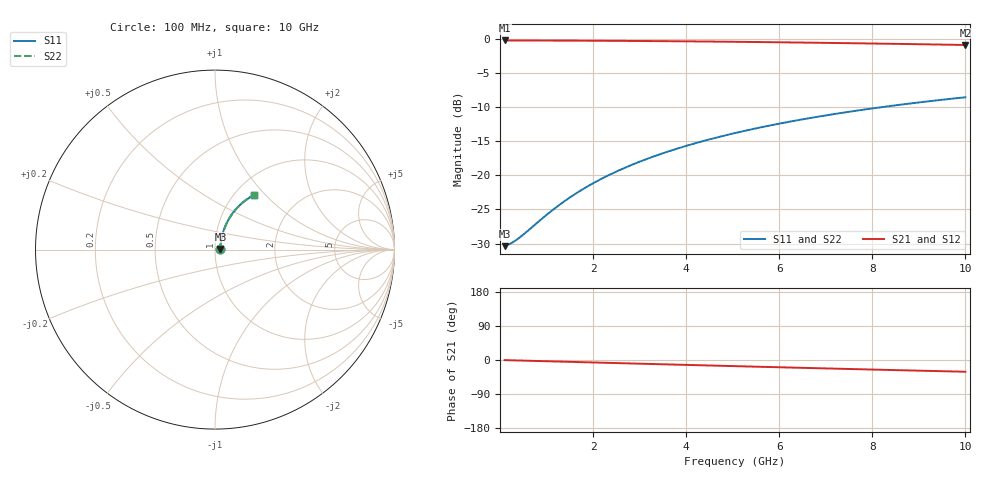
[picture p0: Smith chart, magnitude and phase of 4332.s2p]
# Hz S RI R 50.00
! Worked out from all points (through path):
!   100 points, 100 MHz to 10 GHz, reference 50 ohm
!   highest |S21| = -0.26 dB at 100 MHz (marker M1); lowest = -0.9 dB at 10 GHz (marker M2)
!   group delay of S21, straight-line fit = 8.63 ps
!   lowest |S11| = -30.4 dB at 100 MHz (marker M3), VSWR 1.06, Z = 53.1 + j0.418 ohm
!   |S11| at or under -10 dB: start of sweep to 8.23 GHz
!   |S22| runs from -30.4 to -8.6 dB; largest |S21 - S12| = 0
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1e8  0.03 0.00393  0.9699 -0.00551  0.9699 -0.00551  0.03 0.00393
2e8  0.0303 0.00786  0.9697 -0.011  0.9697 -0.011  0.0303 0.00786
3e8  0.0306 0.0118  0.9694 -0.0165  0.9694 -0.0165  0.0306 0.0118
4e8  0.0308 0.0157  0.9691 -0.022  0.9691 -0.022  0.0308 0.0157
6e8  0.0315 0.0235  0.9685 -0.033  0.9685 -0.033  0.0315 0.0235
1e9  0.0332 0.0391  0.9667 -0.0549  0.9667 -0.0549  0.0332 0.0391
1.2e9  0.0342 0.0469  0.9656 -0.0659  0.9656 -0.0659  0.0342 0.0469
1.5e9  0.0362 0.0585  0.9635 -0.0822  0.9635 -0.0822  0.0362 0.0585
1.8e9  0.0385 0.07  0.9611 -0.0984  0.9611 -0.0984  0.0385 0.07
2.1e9  0.0412 0.0813  0.9582 -0.1145  0.9582 -0.1145  0.0412 0.0813
2.5e9  0.0453 0.0963  0.9539 -0.1358  0.9539 -0.1358  0.0453 0.0963
2.9e9  0.0501 0.1111  0.9488 -0.1569  0.9488 -0.1569  0.0501 0.1111
3.4e9  0.057 0.1291  0.9415 -0.1829  0.9415 -0.1829  0.057 0.1291
3.8e9  0.0632 0.1432  0.935 -0.2033  0.935 -0.2033  0.0632 0.1432
4.2e9  0.0699 0.1569  0.9278 -0.2233  0.9278 -0.2233  0.0699 0.1569
4.6e9  0.0772 0.1702  0.92 -0.243  0.92 -0.243  0.0772 0.1702
5.1e9  0.0871 0.1863  0.9095 -0.267  0.9095 -0.267  0.0871 0.1863
5.9e9  0.1046 0.2106  0.8909 -0.3041  0.8909 -0.3041  0.1046 0.2106
6.7e9  0.1238 0.233  0.8704 -0.3393  0.8704 -0.3393  0.1238 0.233
7.5e9  0.1445 0.2533  0.8482 -0.3725  0.8482 -0.3725  0.1445 0.2533
8.4e9  0.1693 0.2737  0.8215 -0.4073  0.8215 -0.4073  0.1693 0.2737
1e10  0.2163 0.3032  0.7706 -0.4627  0.7706 -0.4627  0.2163 0.3032
